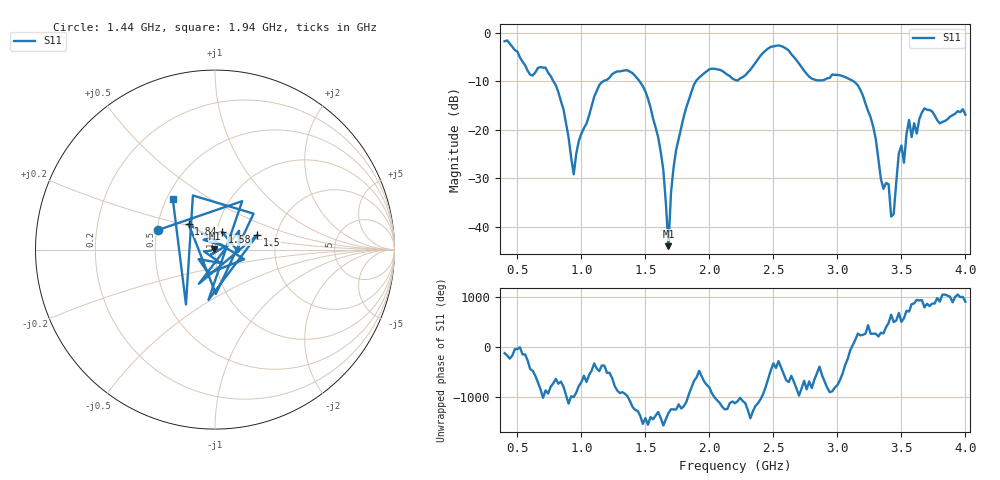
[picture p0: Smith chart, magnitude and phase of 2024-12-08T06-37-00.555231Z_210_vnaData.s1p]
!Created with skrf (http://scikit-rf.org).
# Hz S RI R 50.0
!freq ReS11 ImS11
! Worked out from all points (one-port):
!   181 points, 400 MHz to 4 GHz, reference 50 ohm
!   lowest |S11| = -44.0 dB at 1.68 GHz (marker M1), VSWR 1.01, Z = 49.7 + j0.556 ohm
!   |S11| at or under -10 dB: 781.9 MHz to 1.17 GHz (387.8 MHz wide, 39.7 % of centre); 1.455 GHz to 1.894 GHz (439.5 MHz wide, 26.2 % of centre); 3.127 GHz to end of sweep
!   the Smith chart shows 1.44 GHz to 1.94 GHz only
!   S11 on the Smith chart (normalised r, x): 1.44 GHz: 0.51, +0.12; 1.5 GHz: 1.59, +0.27; 1.58 GHz: 1.06, +0.21; 1.84 GHz: 0.72, +0.21; 1.94 GHz: 0.54, +0.35
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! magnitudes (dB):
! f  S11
! 400 MHz  -1.7
! 720 MHz  -7.2
! 860 MHz  -15.8
! 940 MHz  -29.2
! 1.14 GHz  -10.7
! 1.3 GHz  -7.9
! 1.44 GHz  -9.5
! 1.5 GHz  -12.1
! 1.58 GHz  -19.5
! 1.64 GHz  -28.3
! 1.68 GHz  -44.0
! 1.7 GHz  -33.0
! 1.76 GHz  -21.9
! 1.84 GHz  -13.8
! 1.94 GHz  -8.8
! 2.2 GHz  -9.7
! 2.48 GHz  -2.9
! 2.66 GHz  -5.0
! 3.1 GHz  -9.6
! 3.26 GHz  -17.5
! 3.36 GHz  -32.2
! 3.4 GHz  -31.2
! 3.42 GHz  -37.9
! 3.44 GHz  -37.4
! 3.48 GHz  -24.9
! 3.52 GHz  -26.8
! 3.56 GHz  -18.0
! 4 GHz  -16.9
